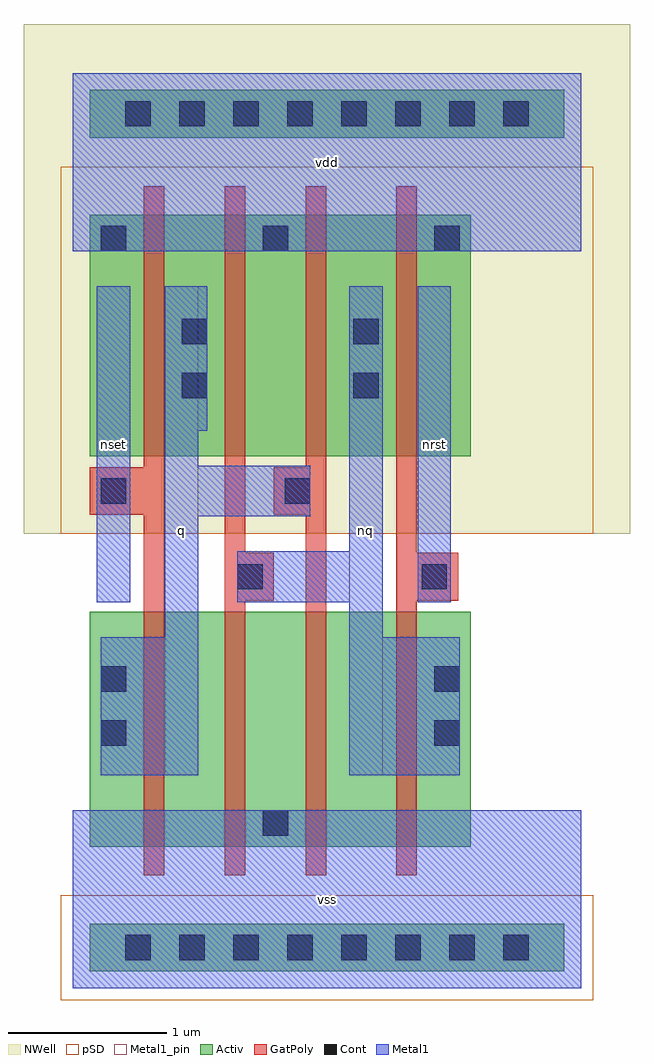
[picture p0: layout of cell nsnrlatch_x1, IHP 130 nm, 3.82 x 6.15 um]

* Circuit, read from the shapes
.subckt nsnrlatch_x1 nq nrst nset q vdd vss
XM1 n1 nset q vss sg13_lv_nmos w=1.48u l=0.13u
XM2 vss nq n1 vss sg13_lv_nmos w=1.48u l=0.13u
XM3 n2 q vss vss sg13_lv_nmos w=1.48u l=0.13u
XM4 nq nrst n2 vss sg13_lv_nmos w=1.48u l=0.13u
XM5 q nset vdd vdd sg13_lv_pmos w=1.52u l=0.13u
XM6 vdd nq q vdd sg13_lv_pmos w=1.52u l=0.13u
XM7 nq q vdd vdd sg13_lv_pmos w=1.52u l=0.13u
XM8 vdd nrst nq vdd sg13_lv_pmos w=1.52u l=0.13u
.ends

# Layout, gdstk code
import gdstk
lib = gdstk.Library(unit=1e-6, precision=1e-09)
def R(c, l, rs):  # rectangles x0, y0, x1, y1
    for r in rs: c.add(gdstk.rectangle(r[:2], r[2:], *l))
def A(c, l, x, y, w, h, nx, ny, dx, dy):  # array of equal rectangles
    R(c, l, [(x+i*dx, y+j*dy, x+i*dx+w, y+j*dy+h) for i in range(nx) for j in range(ny)])
def P(c, l, *ps):  # polygons
    for p in ps: c.add(gdstk.Polygon(p, *l))
Activ = (1, 0)
GatPoly = (5, 0)
Cont = (6, 0)
Metal1 = (8, 0)
Metal1_pin = (8, 2)
pSD = (14, 0)
NWell = (31, 0)

nsnrlatch_x1 = lib.new_cell('nsnrlatch_x1')
R(nsnrlatch_x1, Activ, [(0.105,0.105,3.095,0.405), (0.105,0.89,2.505,2.37), (0.105,3.35,2.505,4.87), (0.105,5.355,3.095,5.655)])
R(nsnrlatch_x1, GatPoly, [(1.02,2.44,1.115,2.74), (2.1,2.44,2.275,2.74)])
P(nsnrlatch_x1, GatPoly, [(1.465,0.71),(1.465,2.98),(1.265,2.98),(1.265,3.28),(1.465,3.28),(1.465,5.05),(1.595,5.05),(1.595,0.71)],
  [(0.445,0.71),(0.445,2.98),(0.105,2.98),(0.105,3.28),(0.445,3.28),(0.445,5.05),(0.575,5.05),(0.575,0.71)],
  [(0.955,0.71),(0.955,5.05),(1.085,5.05),(1.085,2.74),(1.265,2.74),(1.265,2.44),(1.085,2.44),(1.085,0.71)],
  [(2.035,0.71),(2.035,5.05),(2.165,5.05),(2.165,2.74),(2.425,2.74),(2.425,2.44),(2.165,2.44),(2.165,0.71)])
A(nsnrlatch_x1, Cont, 0.33, 0.175, 0.16, 0.16, 8, 2, 0.34, 5.25)
R(nsnrlatch_x1, Cont, [(1.195,0.96,1.355,1.12), (0.175,1.525,0.335,1.685), (2.275,1.525,2.435,1.685), (0.175,1.865,0.335,2.025), (2.275,1.865,2.435,2.025), (1.035,2.51,1.195,2.67), (2.195,2.51,2.355,2.67), (0.175,3.05,0.335,3.21), (1.335,3.05,1.495,3.21), (0.685,3.715,0.845,3.875), (1.765,3.715,1.925,3.875), (0.685,4.055,0.845,4.215), (1.765,4.055,1.925,4.215), (0.175,4.64,0.335,4.8), (1.195,4.64,1.355,4.8), (2.275,4.64,2.435,4.8)])
R(nsnrlatch_x1, Metal1, [(0,0,3.2,1.12), (0.15,2.43,0.36,4.42), (2.17,2.43,2.38,4.42), (0,4.64,3.2,5.76)])
P(nsnrlatch_x1, Metal1, [(0.175,1.34),(0.175,2.21),(0.58,2.21),(0.58,4.42),(0.845,4.42),(0.845,3.51),(0.79,3.51),(0.79,3.29),(1.495,3.29),(1.495,2.97),(0.79,2.97),(0.79,1.34)],
  [(1.74,1.34),(1.74,2.43),(1.035,2.43),(1.035,2.75),(1.74,2.75),(1.74,4.42),(1.95,4.42),(1.95,2.21),(2.435,2.21),(2.435,1.34)])
R(nsnrlatch_x1, Metal1_pin, [(0,0,3.2,1.12), (0.58,1.34,0.79,4.42), (1.74,1.34,1.95,4.42), (0.15,2.43,0.36,4.42), (2.17,2.43,2.38,4.42), (0,4.64,3.2,5.76)])
R(nsnrlatch_x1, pSD, [(-0.075,-0.075,3.275,0.585), (-0.075,2.86,3.275,5.17)])
R(nsnrlatch_x1, NWell, [(-0.31,2.86,3.51,6.07)])
nsnrlatch_x1.add(gdstk.Label('q', (0.685,2.88), layer=8, texttype=2))
nsnrlatch_x1.add(gdstk.Label('vdd', (1.6,5.2), layer=8, texttype=2))
nsnrlatch_x1.add(gdstk.Label('vss', (1.6,0.56), layer=8, texttype=2))
nsnrlatch_x1.add(gdstk.Label('nset', (0.255,3.425), layer=8, texttype=2))
nsnrlatch_x1.add(gdstk.Label('nq', (1.845,2.88), layer=8, texttype=2))
nsnrlatch_x1.add(gdstk.Label('nrst', (2.275,3.425), layer=8, texttype=2))

lib.write_gds('nsnrlatch_x1.gds')
